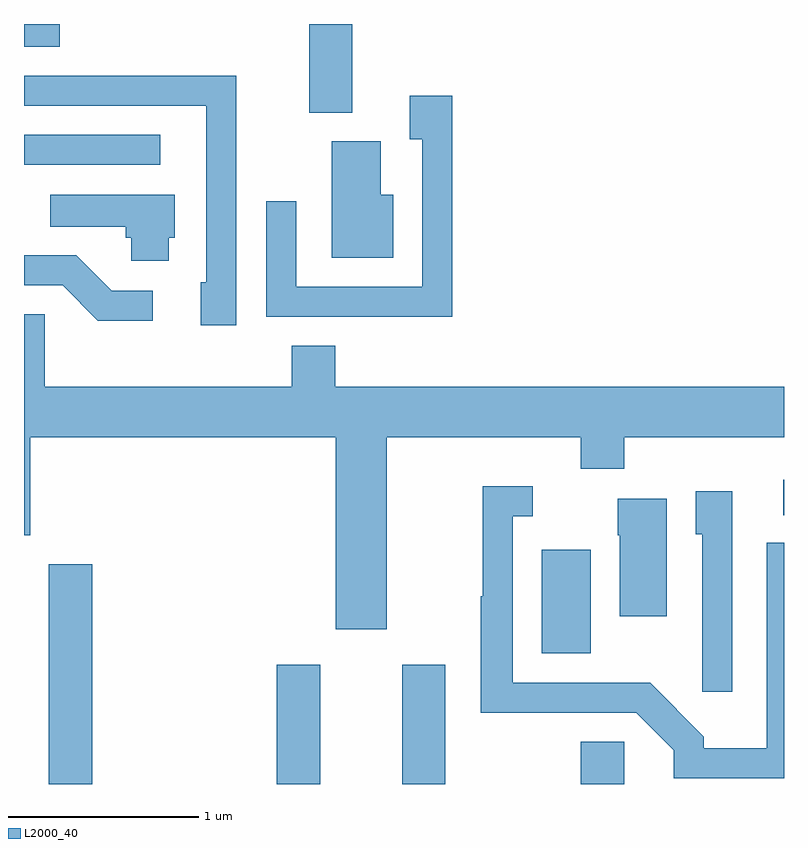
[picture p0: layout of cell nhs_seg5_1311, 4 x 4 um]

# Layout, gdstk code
import gdstk
lib = gdstk.Library(unit=1e-6, precision=1e-09)
def R(c, l, rs):  # rectangles x0, y0, x1, y1
    for r in rs: c.add(gdstk.rectangle(r[:2], r[2:], *l))
def P(c, l, *ps):  # polygons
    for p in ps: c.add(gdstk.Polygon(p, *l))
L2000_40 = (2000, 40)

nhs_seg5_1311 = lib.new_cell('nhs_seg5_1311')
R(nhs_seg5_1311, L2000_40, [(223.741,1466.072,223.969,1467.229), (224.941,1466.072,225.169,1466.699), (225.601,1466.072,225.829,1466.699), (226.541,1466.072,226.769,1466.294), (226.336,1466.761,226.594,1467.304), (227.606,1467.486,227.611,1467.674), (223.611,1469.331,224.328,1469.489), (225.111,1469.606,225.339,1470.072), (223.611,1469.951,223.799,1470.072)])
P(nhs_seg5_1311, L2000_40, [(224.729,1469.799),(223.611,1469.799),(223.611,1469.641),(224.571,1469.641),(224.571,1468.714),(224.541,1468.714),(224.541,1468.486),(224.729,1468.486)],
  [(225.864,1469.694),(225.641,1469.694),(225.641,1469.466),(225.706,1469.466),(225.706,1468.689),(225.044,1468.689),(225.044,1469.138),(224.886,1469.138),(224.886,1468.531),(225.864,1468.531)],
  [(225.554,1469.174),(225.489,1469.174),(225.489,1469.454),(225.231,1469.454),(225.231,1468.841),(225.554,1468.841)],
  [(224.374,1468.946),(224.404,1468.946),(224.404,1469.174),(223.748,1469.174),(223.748,1469.006),(224.146,1469.006),(224.146,1468.946),(224.176,1468.946),(224.176,1468.826),(224.374,1468.826)],
  [(224.288,1468.669),(224.072,1468.669),(223.887,1468.854),(223.611,1468.854),(223.611,1468.696),(223.814,1468.696),(223.999,1468.511),(224.288,1468.511)],
  [(225.519,1467.896),(226.541,1467.896),(226.541,1467.731),(226.769,1467.731),(226.769,1467.896),(227.611,1467.896),(227.611,1468.164),(225.249,1468.164),(225.249,1468.379),(225.021,1468.379),(225.021,1468.164),(223.719,1468.164),(223.719,1468.544),(223.611,1468.544),(223.611,1467.381),(223.644,1467.381),(223.644,1467.896),(225.251,1467.896),(225.251,1466.886),(225.519,1466.886)],
  [(227.611,1467.343),(227.521,1467.343),(227.521,1466.259),(227.189,1466.259),(227.189,1466.322),(226.907,1466.604),(226.184,1466.604),(226.184,1467.481),(226.288,1467.481),(226.288,1467.639),(226.026,1467.639),(226.026,1467.06),(226.016,1467.06),(226.016,1466.446),(226.834,1466.446),(227.031,1466.249),(227.031,1466.101),(227.611,1466.101)],
  [(227.339,1467.614),(227.146,1467.614),(227.146,1467.386),(227.181,1467.386),(227.181,1466.558),(227.339,1466.558)],
  [(226.994,1467.574),(226.736,1467.574),(226.736,1467.38),(226.746,1467.38),(226.746,1466.956),(226.994,1466.956)])

lib.write_gds('nhs_seg5_1311.gds')
